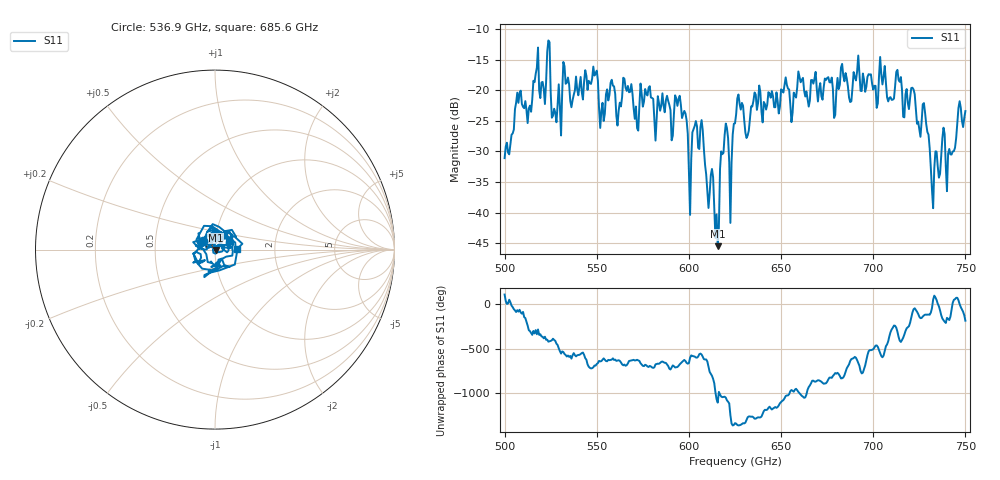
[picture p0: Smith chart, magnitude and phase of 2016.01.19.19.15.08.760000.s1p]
!Created with skrf (http://scikit-rf.org).
# GHz S RI R 50.0
!freq ReS11 ImS11
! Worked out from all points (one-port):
!   401 points, 500 GHz to 750 GHz, reference 50 ohm
!   lowest |S11| = -45.5 dB at 615.6 GHz (marker M1), VSWR 1.01, Z = 50.5 - j0.228 ohm
!   |S11| at or under -10 dB: start of sweep to end of sweep
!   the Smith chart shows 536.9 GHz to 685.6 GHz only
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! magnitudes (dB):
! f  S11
! 500 GHz  -31.1
! 507.5 GHz  -22.1
! 513.8 GHz  -22.5
! 516.9 GHz  -17.3
! 520.6 GHz  -18.6
! 523.8 GHz  -11.9
! 526.9 GHz  -23.0
! 531.2 GHz  -20.3
! 548.8 GHz  -17.6
! 552.5 GHz  -23.4
! 558.1 GHz  -18.3
! 562.5 GHz  -22.0
! 593.8 GHz  -22.5
! 600.6 GHz  -40.4
! 603.1 GHz  -25.8
! 607.5 GHz  -26.5
! 615.6 GHz  -45.5
! 618.8 GHz  -30.2
! 622.5 GHz  -41.7
! 625 GHz  -25.4
! 656.2 GHz  -23.7
! 660.6 GHz  -18.7
! 687.5 GHz  -21.9
! 705 GHz  -19.1
! 718.8 GHz  -22.1
! 728.1 GHz  -23.7
! 732.5 GHz  -39.3
! 750 GHz  -23.4
